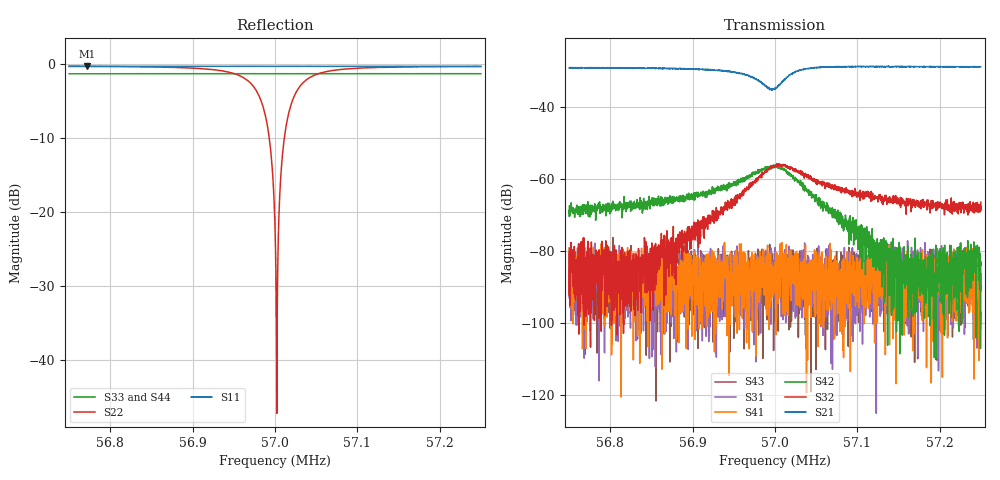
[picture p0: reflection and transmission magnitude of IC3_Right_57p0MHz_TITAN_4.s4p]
#  HZ  S  DB  R  50.00
! Rohde & Schwarz Vector Network Analyzer
! Rohde-Schwarz,ZNB8-4Port,1311601044102961,2.82
! Created: UTC 2/8/2019, 2:58:38 PM
! freq[Hz]  db:S11  ang:S11  db:S12  ang:S12  db:S13  ang:S13  db:S14  ang:S14
!  db:S21  ang:S21  db:S22  ang:S22  db:S23  ang:S23  db:S24  ang:S24
!  db:S31  ang:S31  db:S32  ang:S32  db:S33  ang:S33  db:S34  ang:S34
!  db:S41  ang:S41  db:S42  ang:S42  db:S43  ang:S43  db:S44  ang:S44
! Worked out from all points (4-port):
!   2001 points, 56.75 MHz to 57.25 MHz, reference 50 ohm
!   strongest paths, dB at 56.75 MHz, 56.875 MHz, 57 MHz, 57.125 MHz, 57.25 MHz:
!     S21: -29.2, -29.5, -34.9, -28.9, -28.9
!     S32: -79.2, -76.3, -56.6, -66.4, -66.5
!     S42: -68.7, -65.7, -56.5, -78.5, -83.9
!     S41: -89.6, -82.0, -84.9, -91.8, -88.2
!     S31: -93.0, -89.7, -87.1, -94.7, -97.0
!     S43: -85.4, -81.2, -86.9, -95.1, -87.8
!   lowest |S11| = -0.4 dB at 56.772 MHz (marker M1), VSWR 47.13, Z = 2.87 + j65.2 ohm
!   |S11| at or under -10 dB: nowhere
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5.675e7  -0.36 75.2  -29.18 63.8  -81.19 35.2  -85.97 149.9
         -29.24 63.0  -0.33 -128.1  -86.35 157.3  -69.25 -136.6
         -93.00 -160.2  -79.16 172.6  -1.35 23.3  -84.36 128.7
         -89.56 -43.9  -68.73 -134.2  -85.38 122.0  -1.37 30.2
5.6772e7  -0.37 74.9  -29.24 62.2  -96.36 54.2  -88.18 40.7
          -29.21 62.4  -0.35 -130.0  -81.47 -123.2  -66.83 -149.2
          -99.55 90.1  -83.95 -129.8  -1.36 23.1  -97.69 -176.2
          -85.00 -140.7  -68.74 -146.3  -90.91 14.6  -1.36 29.9
5.69715e7  -0.34 71.6  -31.70 43.0  -91.34 166.4  -81.22 -118.5
           -31.71 43.1  -2.76 -176.9  -62.09 -19.4  -59.01 178.3
           -96.72 60.7  -61.11 -15.2  -1.35 20.6  -82.66 98.4
           -92.39 160.0  -59.37 -178.8  -82.79 139.5  -1.35 27.5
5.700225e7  -0.35 71.0  -34.63 73.7  -88.17 -72.2  -88.93 -38.2
            -34.63 74.1  -47.26 4.0  -56.00 -61.6  -56.49 127.8
            -98.79 -10.8  -55.78 -64.3  -1.34 20.3  -87.11 44.2
            -84.42 -41.7  -56.66 129.3  -88.51 -41.5  -1.35 27.1
5.701175e7  -0.35 70.8  -32.52 82.4  -83.21 6.4  -79.79 -132.4
            -32.59 82.3  -9.67 -67.6  -56.35 -82.6  -57.57 109.9
            -80.65 106.2  -56.31 -84.1  -1.34 20.1  -88.24 94.6
            -91.90 119.2  -57.46 109.6  -96.81 -156.4  -1.35 27.0
5.7034e7  -0.35 70.5  -29.66 75.0  -89.37 97.0  -83.87 -110.7
          -29.67 74.9  -2.58 -99.9  -58.30 -111.8  -62.37 77.5
          -84.49 169.8  -58.96 -115.8  -1.35 19.9  -82.63 163.3
          -93.06 -170.5  -62.52 78.7  -95.46 56.2  -1.35 26.7
5.725e7  -0.34 67.0  -28.91 50.3  -84.71 28.7  -78.09 118.3
         -28.89 50.0  -0.37 -147.7  -67.97 -156.1  -81.78 167.8
         -96.96 35.5  -66.49 -152.6  -1.34 17.2  -90.16 174.4
         -88.18 147.1  -83.91 -160.2  -87.75 161.3  -1.35 24.1
